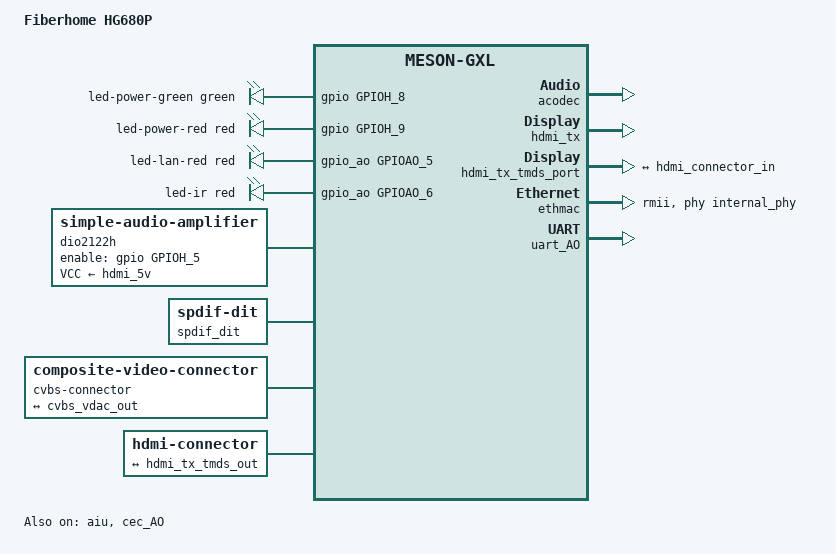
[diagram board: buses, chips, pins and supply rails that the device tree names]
// SPDX-License-Identifier: (GPL-2.0+ OR MIT)
/*
 * Copyright (c) 2026 Stanley Ang <me@stanley.id>
 *
 * Based on meson-gxl-s905x-p212.dts and meson-gxl-s905x-vero4k.dts:
 *  - Copyright (c) 2016 Endless Computers, Inc.
 *    Author: Carlo Caione <carlo@endlessm.com>
 *  - Copyright (c) 2024 Christian Hewitt <christianshewitt@gmail.com>
 */

/dts-v1/;

#include "meson-gxl-s905x-p212.dtsi"
#include <dt-bindings/leds/common.h>
#include <dt-bindings/sound/meson-aiu.h>

/ {
	compatible = "fiberhome,hg680p", "amlogic,s905x", "amlogic,meson-gxl";
	model = "Fiberhome HG680P";

	leds {
		compatible = "gpio-leds";

		led-power-green {
			color = <LED_COLOR_ID_GREEN>;
			function = LED_FUNCTION_POWER;
			gpios = <&gpio GPIOH_8 GPIO_ACTIVE_HIGH>;
			default-state = "on";
			panic-indicator;
		};

		led-power-red {
			color = <LED_COLOR_ID_RED>;
			function = LED_FUNCTION_POWER;
			gpios = <&gpio GPIOH_9 GPIO_ACTIVE_HIGH>;
			default-state = "off";
		};

		led-lan-red {
			color = <LED_COLOR_ID_RED>;
			function = LED_FUNCTION_LAN;
			gpios = <&gpio_ao GPIOAO_5 GPIO_ACTIVE_HIGH>;
			linux,default-trigger = "netdev";
		};

		led-ir {
			color = <LED_COLOR_ID_RED>;
			function = "ir";
			gpios = <&gpio_ao GPIOAO_6 GPIO_ACTIVE_HIGH>;
			default-state = "off";
		};
	};

	dio2122h: analog-amplifier {
		compatible = "simple-audio-amplifier";
		sound-name-prefix = "AU2";
		VCC-supply = <&hdmi_5v>;
		enable-gpios = <&gpio GPIOH_5 GPIO_ACTIVE_HIGH>;
	};

	spdif_dit: audio-codec-0 {
		#sound-dai-cells = <0>;
		compatible = "linux,spdif-dit";
		sound-name-prefix = "DIT";
	};

	cvbs-connector {
		compatible = "composite-video-connector";

		port {
			cvbs_connector_in: endpoint {
				remote-endpoint = <&cvbs_vdac_out>;
			};
		};
	};

	hdmi-connector {
		compatible = "hdmi-connector";
		type = "a";

		port {
			hdmi_connector_in: endpoint {
				remote-endpoint = <&hdmi_tx_tmds_out>;
			};
		};
	};

	sound {
		compatible = "amlogic,gx-sound-card";
		model = "HG680-P";
		audio-aux-devs = <&dio2122h>;
		audio-widgets = "Line", "Lineout";
		audio-routing = "AU2 INL", "ACODEC LOLP",
				"AU2 INR", "ACODEC LORP",
				"AU2 INL", "ACODEC LOLN",
				"AU2 INR", "ACODEC LORN",
				"Lineout", "AU2 OUTL",
				"Lineout", "AU2 OUTR";

		clocks = <&clkc CLKID_MPLL0>,
			 <&clkc CLKID_MPLL1>,
			 <&clkc CLKID_MPLL2>;

		assigned-clocks = <&clkc CLKID_MPLL0>,
				  <&clkc CLKID_MPLL1>,
				  <&clkc CLKID_MPLL2>;
		assigned-clock-parents = <0>, <0>, <0>;
		assigned-clock-rates = <294912000>,
				       <270950400>,
				       <393216000>;

		dai-link-0 {
			sound-dai = <&aiu AIU_CPU CPU_I2S_FIFO>;
		};

		dai-link-1 {
			sound-dai = <&aiu AIU_CPU CPU_SPDIF_FIFO>;
		};

		dai-link-2 {
			sound-dai = <&aiu AIU_CPU CPU_I2S_ENCODER>;
			dai-format = "i2s";
			mclk-fs = <256>;

			codec-0 {
				sound-dai = <&aiu AIU_HDMI CTRL_I2S>;
			};

			codec-1 {
				sound-dai = <&aiu AIU_ACODEC CTRL_I2S>;
			};
		};

		dai-link-3 {
			sound-dai = <&aiu AIU_CPU CPU_SPDIF_ENCODER>;

			codec-0 {
				sound-dai = <&spdif_dit>;
			};
		};

		dai-link-4 {
			sound-dai = <&aiu AIU_HDMI CTRL_OUT>;

			codec-0 {
				sound-dai = <&hdmi_tx>;
			};
		};

		dai-link-5 {
			sound-dai = <&aiu AIU_ACODEC CTRL_OUT>;

			codec-0 {
				sound-dai = <&acodec>;
			};
		};
	};
};

&acodec {
	AVDD-supply = <&vddio_ao18>;
	status = "okay";
};

&aiu {
	status = "okay";
	pinctrl-0 = <&spdif_out_h_pins>;
	pinctrl-names = "default";
};

&cec_AO {
	status = "okay";
	pinctrl-0 = <&ao_cec_pins>;
	pinctrl-names = "default";
	hdmi-phandle = <&hdmi_tx>;
};

&cvbs_vdac_port {
	cvbs_vdac_out: endpoint {
		remote-endpoint = <&cvbs_connector_in>;
	};
};

&hdmi_tx {
	status = "okay";
	pinctrl-0 = <&hdmi_hpd_pins>, <&hdmi_i2c_pins>;
	pinctrl-names = "default";
	hdmi-supply = <&hdmi_5v>;
};

&hdmi_tx_tmds_port {
	hdmi_tx_tmds_out: endpoint {
		remote-endpoint = <&hdmi_connector_in>;
	};
};

&ethmac {
	phy-mode = "rmii";
	phy-handle = <&internal_phy>;
};

/* rtl8189fs wifi: keep the 100 MHz max-frequency bump (same as B860H) */
&sd_emmc_a {
	max-frequency = <100000000>;
};

/* rtl8189fs has no Bluetooth; drop the brcm node from p212.dtsi */
&uart_A {
	status = "disabled";
	/delete-node/ bluetooth;
};

/* This UART is brought out to the DB9 connector */
&uart_AO {
	status = "okay";
};
